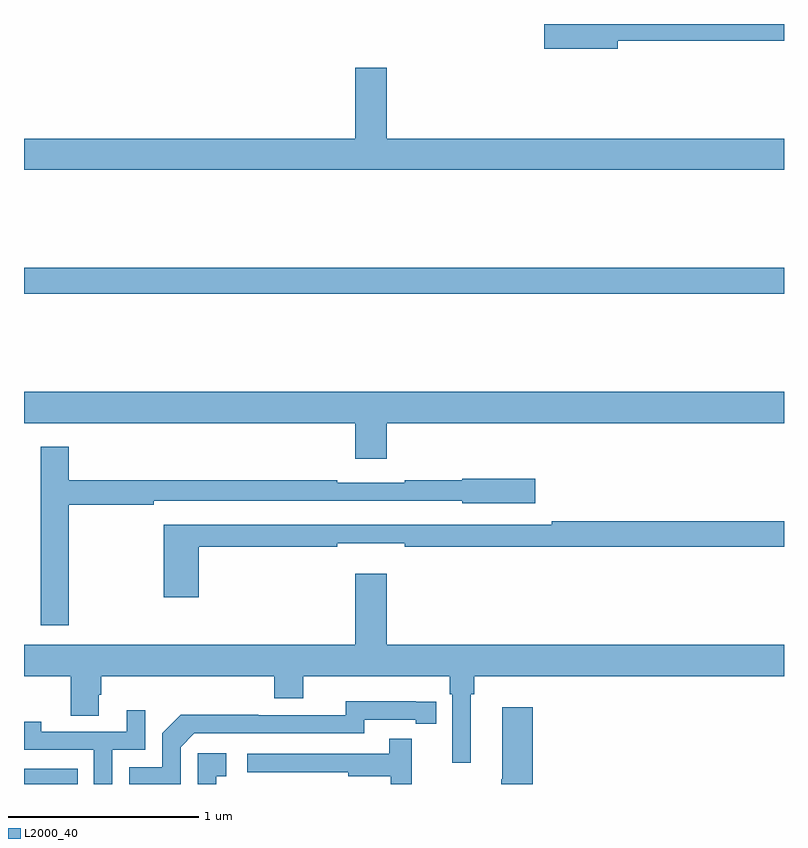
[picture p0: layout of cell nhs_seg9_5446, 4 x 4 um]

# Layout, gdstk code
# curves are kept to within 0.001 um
import gdstk
lib = gdstk.Library(unit=1e-6, precision=1e-09)
def R(c, l, rs):  # rectangles x0, y0, x1, y1
    for r in rs: c.add(gdstk.rectangle(r[:2], r[2:], *l))
def P(c, l, *ps):  # polygons
    for p in ps: c.add(gdstk.Polygon(p, *l))
L2000_40 = (2000, 40)

nhs_seg9_5446 = lib.new_cell('nhs_seg9_5446')
R(nhs_seg9_5446, L2000_40, [(427,1214.5,427.283,1214.58), (427,1217.08,431,1217.216)])
P(nhs_seg9_5446, L2000_40, [(430.126,1218.412),(431,1218.412),(431,1218.5),(429.887,1218.5),(429.887,1218.499),(429.738,1218.499),(429.738,1218.37),(430.126,1218.37)],
  [(431,1217.896),(428.908,1217.896),(428.908,1218.271),(428.744,1218.271),(428.744,1217.896),(427,1217.896),(427,1217.732),(431,1217.732)],
  [(428.908,1216.4),(431,1216.4),(431,1216.564),(427,1216.564),(427,1216.4),(428.744,1216.4),(428.744,1216.212),(428.908,1216.212)],
  [(427.235,1215.97),(427.682,1215.97),(427.682,1215.99),(429.306,1215.99),(429.306,1215.977),(429.691,1215.977),(429.691,1216.107),(429.306,1216.107),(429.306,1216.099),(429.004,1216.099),(429.004,1216.086),(428.648,1216.086),(428.648,1216.099),(427.235,1216.099),(427.235,1216.276),(427.088,1216.276),(427.088,1215.336),(427.235,1215.336)],
  [(427.919,1215.748),(428.648,1215.748),(428.648,1215.767),(429.004,1215.767),(429.004,1215.748),(431,1215.748),(431,1215.884),(429.778,1215.884),(429.778,1215.864),(427.736,1215.864),(427.736,1215.483),(427.919,1215.483)],
  [(429.352,1214.972),(429.371,1214.972),(429.371,1215.068),(431,1215.068),(431,1215.232),(428.908,1215.232),(428.908,1215.607),(428.744,1215.607),(428.744,1215.232),(427,1215.232),(427,1215.068),(427.246,1215.068),(427.246,1214.86),(427.393,1214.86),(427.393,1214.97),(427.406,1214.97),(427.406,1215.068),(428.318,1215.068),(428.318,1214.951),(428.47,1214.951),(428.47,1215.068),(429.242,1215.068),(429.242,1214.972),(429.255,1214.972),(429.255,1214.613),(429.352,1214.613)],
  [(427.824,1214.694),(427.896,1214.766),(428.79,1214.766),(428.79,1214.838),(429.062,1214.838),(429.062,1214.818),(429.17,1214.818),(429.17,1214.934),(428.694,1214.935),(428.694,1214.862),(428.234,1214.862),(428.234,1214.864),(427.826,1214.864),(427.728,1214.766),(427.728,1214.589),(427.554,1214.589),(427.554,1214.5),(427.824,1214.5)],
  [(429.677,1214.905),(429.518,1214.905),(429.518,1214.525),(429.511,1214.525),(429.511,1214.5),(429.677,1214.5)],
  [(427.464,1214.679),(427.638,1214.679),(427.638,1214.887),(427.541,1214.887),(427.541,1214.775),(427.09,1214.775),(427.09,1214.827),(427,1214.827),(427,1214.679),(427.368,1214.679),(427.368,1214.5),(427.464,1214.5)],
  [(429.041,1214.737),(428.923,1214.737),(428.923,1214.658),(428.175,1214.658),(428.175,1214.562),(428.707,1214.562),(428.707,1214.542),(428.931,1214.542),(428.931,1214.5),(429.041,1214.5)],
  [(428.012,1214.541),(428.065,1214.541),(428.065,1214.662),(427.914,1214.662),(427.914,1214.5),(428.012,1214.5)])

lib.write_gds('nhs_seg9_5446.gds')
